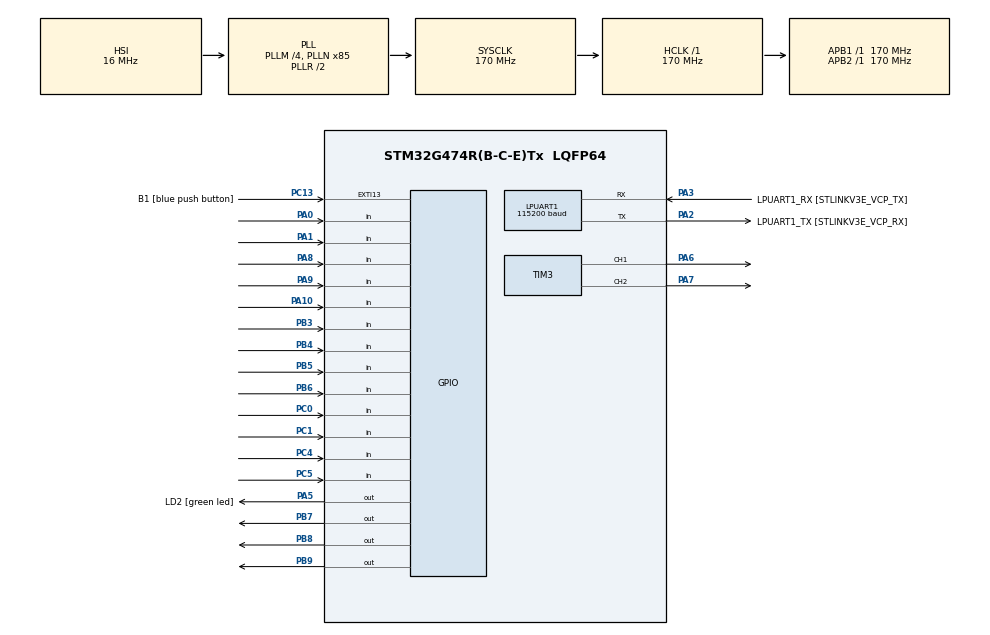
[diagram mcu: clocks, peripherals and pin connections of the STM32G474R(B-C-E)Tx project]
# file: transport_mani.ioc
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ARM.CMSIS.6.0.0.CMSISJjCORE=true
Dma.LPUART1_RX.0.Direction=DMA_PERIPH_TO_MEMORY
Dma.LPUART1_RX.0.EventEnable=DISABLE
Dma.LPUART1_RX.0.Instance=DMA1_Channel1
Dma.LPUART1_RX.0.MemDataAlignment=DMA_MDATAALIGN_BYTE
Dma.LPUART1_RX.0.MemInc=DMA_MINC_ENABLE
Dma.LPUART1_RX.0.Mode=DMA_CIRCULAR
Dma.LPUART1_RX.0.PeriphDataAlignment=DMA_PDATAALIGN_BYTE
Dma.LPUART1_RX.0.PeriphInc=DMA_PINC_DISABLE
Dma.LPUART1_RX.0.Polarity=HAL_DMAMUX_REQ_GEN_RISING
Dma.LPUART1_RX.0.Priority=DMA_PRIORITY_VERY_HIGH
Dma.LPUART1_RX.0.RequestNumber=1
Dma.LPUART1_RX.0.SignalID=NONE
Dma.LPUART1_RX.0.SyncEnable=DISABLE
Dma.LPUART1_RX.0.SyncPolarity=HAL_DMAMUX_SYNC_NO_EVENT
Dma.LPUART1_RX.0.SyncRequestNumber=1
Dma.LPUART1_RX.0.SyncSignalID=NONE
Dma.LPUART1_TX.1.Direction=DMA_MEMORY_TO_PERIPH
Dma.LPUART1_TX.1.EventEnable=DISABLE
Dma.LPUART1_TX.1.Instance=DMA1_Channel2
Dma.LPUART1_TX.1.MemDataAlignment=DMA_MDATAALIGN_BYTE
Dma.LPUART1_TX.1.MemInc=DMA_MINC_ENABLE
Dma.LPUART1_TX.1.Mode=DMA_NORMAL
Dma.LPUART1_TX.1.PeriphDataAlignment=DMA_PDATAALIGN_BYTE
Dma.LPUART1_TX.1.PeriphInc=DMA_PINC_DISABLE
Dma.LPUART1_TX.1.Polarity=HAL_DMAMUX_REQ_GEN_RISING
Dma.LPUART1_TX.1.Priority=DMA_PRIORITY_VERY_HIGH
Dma.LPUART1_TX.1.RequestNumber=1
Dma.LPUART1_TX.1.SignalID=NONE
Dma.LPUART1_TX.1.SyncEnable=DISABLE
Dma.LPUART1_TX.1.SyncPolarity=HAL_DMAMUX_SYNC_NO_EVENT
Dma.LPUART1_TX.1.SyncRequestNumber=1
Dma.LPUART1_TX.1.SyncSignalID=NONE
Dma.Request0=LPUART1_RX
Dma.Request1=LPUART1_TX
FREERTOS.Tasks01=defaultTask,24,3000,StartDefaultTask,As weak,NULL,Static,defaultTaskBuffer,defaultTaskControlBlock
FREERTOS.configENABLE_FPU=1
LPUART1.BaudRate=115200
Mcu.Family=STM32G4
Mcu.Name=STM32G474R(B-C-E)Tx
Mcu.Package=LQFP64
NVIC.DMA1_Channel1_IRQn=true\:5\:0\:false\:false\:true\:true\:false\:true\:true
NVIC.DMA1_Channel2_IRQn=true\:5\:0\:false\:false\:true\:true\:false\:true\:true
NVIC.EXTI15_10_IRQn=true\:5\:0\:false\:false\:true\:true\:true\:true\:true
NVIC.LPUART1_IRQn=true\:5\:0\:false\:false\:true\:true\:true\:true\:true
NVIC.PriorityGroup=NVIC_PRIORITYGROUP_4
NVIC.TIM2_IRQn=true\:5\:0\:false\:false\:true\:true\:true\:true\:true
NVIC.TIM6_DAC_IRQn=true\:15\:0\:false\:false\:true\:false\:false\:true\:true
NVIC.TimeBase=TIM6_DAC_IRQn
NVIC.TimeBaseIP=TIM6
PA0.GPIO_PuPd=GPIO_PULLUP
PA0.Signal=GPIO_Input
PA1.GPIO_PuPd=GPIO_PULLUP
PA1.Signal=GPIO_Input
PA10.GPIO_PuPd=GPIO_PULLUP
PA10.Signal=GPIO_Input
PA13.GPIO_Label=T_SWDIO
PA13.Signal=SYS_JTMS-SWDIO
PA14.GPIO_Label=T_SWCLK
PA14.Signal=SYS_JTCK-SWCLK
PA2.GPIO_Label=LPUART1_TX [STLINKV3E_VCP_RX]
PA2.Mode=Asynchronous
PA2.Signal=LPUART1_TX
PA3.GPIO_Label=LPUART1_RX [STLINKV3E_VCP_TX]
PA3.Mode=Asynchronous
PA3.Signal=LPUART1_RX
PA5.GPIO_Label=LD2 [green led]
PA5.Signal=GPIO_Output
PA6.Signal=S_TIM3_CH1
PA7.Signal=S_TIM3_CH2
PA8.GPIO_PuPd=GPIO_PULLDOWN
PA8.Signal=GPIO_Input
PA9.GPIO_PuPd=GPIO_PULLDOWN
PA9.Signal=GPIO_Input
PB3.GPIO_PuPd=GPIO_PULLUP
PB3.Signal=GPIO_Input
PB4.GPIO_PuPd=GPIO_PULLDOWN
PB4.Signal=GPIO_Input
PB5.GPIO_PuPd=GPIO_PULLDOWN
PB5.Signal=GPIO_Input
PB6.GPIO_PuPd=GPIO_PULLUP
PB6.Signal=GPIO_Input
PB7.Signal=GPIO_Output
PB8-BOOT0.Signal=GPIO_Output
PB9.Signal=GPIO_Output
PC0.GPIO_PuPd=GPIO_PULLUP
PC0.Signal=GPIO_Input
PC1.GPIO_PuPd=GPIO_PULLUP
PC1.Signal=GPIO_Input
PC13.GPIO_Label=B1 [blue push button]
PC13.Signal=GPXTI13
PC14-OSC32_IN.GPIO_Label=RCC_OSC32_IN
PC14-OSC32_IN.Signal=RCC_OSC32_IN
PC15-OSC32_OUT.GPIO_Label=RCC_OSC32_OUT
PC15-OSC32_OUT.Signal=RCC_OSC32_OUT
PC4.GPIO_PuPd=GPIO_PULLUP
PC4.Signal=GPIO_Input
PC5.GPIO_PuPd=GPIO_PULLDOWN
PC5.Signal=GPIO_Input
PF0-OSC_IN.GPIO_Label=RCC_OSC_IN
PF0-OSC_IN.Signal=RCC_OSC_IN
PF1-OSC_OUT.GPIO_Label=RCC_OSC_OUT
PF1-OSC_OUT.Signal=RCC_OSC_OUT
ProjectManager.HeapSize=0x200
ProjectManager.StackSize=0x400
ProjectManager.TargetToolchain=STM32CubeIDE
RCC.ADC12Freq_Value=170000000
RCC.ADC345Freq_Value=170000000
RCC.AHBFreq_Value=170000000
RCC.APB1Freq_Value=170000000
RCC.APB1TimFreq_Value=170000000
RCC.APB2Freq_Value=170000000
RCC.APB2TimFreq_Value=170000000
RCC.CortexFreq_Value=170000000
RCC.EXTERNAL_CLOCK_VALUE=12288000
RCC.HCLKFreq_Value=170000000
RCC.HSE_VALUE=24000000
RCC.HSI48_VALUE=48000000
RCC.HSI_VALUE=16000000
RCC.LSE_VALUE=32768
RCC.PLLM=RCC_PLLM_DIV4
RCC.PLLN=85
RCC.RTCClockSelection=RCC_RTCCLKSOURCE_LSE
RCC.SYSCLKFreq_VALUE=170000000
RCC.SYSCLKSource=RCC_SYSCLKSOURCE_PLLCLK
RCC.USBFreq_Value=170000000
RCC.VCOOutputFreq_Value=340000000
SH.S_TIM3_CH1.0=TIM3_CH1,PWM Generation1 CH1
SH.S_TIM3_CH2.0=TIM3_CH2,PWM Generation2 CH2
TIM2.PeriodNoDither=999
TIM2.Prescaler=169
TIM2.TIM_MasterOutputTrigger=TIM_TRGO_UPDATE
TIM3.Channel-PWM\ Generation1\ CH1=TIM_CHANNEL_1
TIM3.Channel-PWM\ Generation2\ CH2=TIM_CHANNEL_2
VP_ARM.CMSIS_VS_CMSISJjCORE_6.0.0_6.0.0.Mode=CMSISJjCORE
VP_FREERTOS_VS_CMSIS_V2.Mode=CMSIS_V2
VP_IWDG_VS_IWDG.Mode=IWDG_Activate
VP_SYS_VS_DBSignals.Mode=DisableDeadBatterySignals
VP_SYS_VS_tim6.Mode=TIM6
VP_TIM2_VS_ClockSourceINT.Mode=Internal
VP_TIM3_VS_ClockSourceINT.Mode=Internal
board=NUCLEO-G474RE

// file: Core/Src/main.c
/* USER CODE BEGIN Header */
/**
 ******************************************************************************
 * @file           : main.c
 * @brief          : Main program body
 ******************************************************************************
 * @attention
 *
 * Copyright (c) 2025 STMicroelectronics.
 * All rights reserved.
 *
 * This software is licensed under terms that can be found in the LICENSE file
 * in the root directory of this software component.
 * If no LICENSE file comes with this software, it is provided AS-IS.
 *
 ******************************************************************************
 */
/* USER CODE END Header */
#include "main.h"
#include "cmsis_os.h"
#include "dma.h"
#include "iwdg.h"
#include "usart.h"
#include "tim.h"
#include "gpio.h"

/* USER CODE BEGIN Includes */
#include <rcl/rcl.h>
#include <rcl/error_handling.h>
#include <rclc/rclc.h>
#include <rclc/executor.h>
#include <uxr/client/transport.h>
#include <rmw_microxrcedds_c/config.h>
#include <rmw_microros/rmw_microros.h>

#include <std_msgs/msg/int32.h>
#include <std_msgs/msg/int16.h>

#include <std_msgs/msg/multi_array_dimension.h>
#include <std_msgs/msg/multi_array_layout.h>
#include <std_msgs/msg/float64_multi_array.h>
#include <std_msgs/msg/float32_multi_array.h>
#include <geometry_msgs/msg/twist.h>

#include <example_interfaces/srv/add_two_ints.h>

#include "config.h"
/* USER CODE END Includes */

/* USER CODE BEGIN PM */
#define RCLSOFTCHECK(fn) if (fn != RCL_RET_OK) {};
/* USER CODE END PM */

/* USER CODE BEGIN PV */
rclc_support_t support;
rcl_allocator_t allocator;
rcl_node_t node;
rcl_init_options_t init_options;
rclc_executor_t executor;

rcl_timer_t timer;
const int timeout_ms = 10;
const unsigned int timer_period = RCL_MS_TO_NS(10);

rcl_publisher_t publisher;
std_msgs__msg__Float64MultiArray pub_msg;

rcl_subscription_t subscriber;
std_msgs__msg__Float64MultiArray sub_msg;

int cmd_FL_hinge, cmd_BL_hinge;

uint8_t FL_limit1, FL_limit2, BL_limit1, BL_limit2;

uint8_t FL_limit_ang1;
uint8_t BL_limit_ang2;

uint8_t hinge_num;
uint8_t hinge_action;
uint8_t L_hinge_state;
uint8_t R_hinge_state;
uint32_t L_hinge_timer;

uint8_t FL_flex_limit;
uint8_t BL_flex_limit;
uint8_t FR_flex_limit;
uint8_t BR_flex_limit;
uint8_t FL_flex_limit_prev;
uint8_t BL_flex_limit_prev;
uint8_t FR_flex_limit_prev;
uint8_t BR_flex_limit_prev;

int32_t cmd_vel1, cmd_vel2;
uint16_t FlexData[2] = { 0 };
float flexdata_converted[2];
float flex_threshold = 0.9;
int flex_output[2];

rcl_service_t service;
rcl_client_t client;
example_interfaces__srv__AddTwoInts_Response service_response;
example_interfaces__srv__AddTwoInts_Request service_request;
int64_t client_response;
example_interfaces__srv__AddTwoInts_Request client_request;

int checkk = 0;
int first_time_in;

// Flags for interrupt-safe micro-ROS operations
volatile uint8_t send_client_request_flag = 0;
volatile uint8_t client_request_type = 0;
volatile uint8_t condition_triggered = 0;

// Flag values for different client request types
#define CLIENT_REQ_L_DOWN_SUCCESS     1
#define CLIENT_REQ_L_DOWN_FAIL        2
#define CLIENT_REQ_L_READY_FOR_ORDER  3
#define CLIENT_REQ_R_DOWN_SUCCESS     4
#define CLIENT_REQ_R_DOWN_FAIL        5
#define CLIENT_REQ_R_READY_FOR_ORDER  6
#define CLIENT_REQ_FL_FLEX_PRESSED  7
#define CLIENT_REQ_FL_FLEX_RELEASED 8
#define CLIENT_REQ_BL_FLEX_PRESSED  9
#define CLIENT_REQ_BL_FLEX_RELEASED 10
#define CLIENT_REQ_FR_FLEX_PRESSED  11
#define CLIENT_REQ_FR_FLEX_RELEASED 12
#define CLIENT_REQ_BR_FLEX_PRESSED  13
#define CLIENT_REQ_BR_FLEX_RELEASED 14

/* USER CODE END PV */

void SystemClock_Config(void);
void MX_FREERTOS_Init(void);
/* USER CODE BEGIN PFP */
bool cubemx_transport_open(struct uxrCustomTransport *transport);
bool cubemx_transport_close(struct uxrCustomTransport *transport);
size_t cubemx_transport_write(struct uxrCustomTransport *transport,
		const uint8_t *buf, size_t len, uint8_t *err);
size_t cubemx_transport_read(struct uxrCustomTransport *transport, uint8_t *buf,
		size_t len, int timeout, uint8_t *err);

void* microros_allocate(size_t size, void *state);
void microros_deallocate(void *pointer, void *state);
void* microros_reallocate(void *pointer, size_t size, void *state);
void* microros_zero_allocate(size_t number_of_elements, size_t size_of_element,
		void *state);

void handle_client_requests(void);
void send_client_request_safe(uint8_t req_type);
/* USER CODE END PFP */

/* USER CODE BEGIN 0 */
//void timer_callback(rcl_timer_t *timer, int64_t last_call_time) {
//	if (timer != NULL) {
//		// Sync micro-ROS session
//		rmw_uros_sync_session(timeout_ms);
//
//		// Prepare and publish multi-array message with motor data
//
//		// Reinitialize watchdog timer
//		HAL_IWDG_Init(&hiwdg);
//	}
//}

void timer_callback(rcl_timer_t *timer, int64_t last_call_time) {
	static uint8_t cnt = 0;

	if (timer != NULL) {
		// Sync micro-ROS session
		rmw_uros_sync_session(timeout_ms);

		// Toggle LED every 50 cycles (approximately every 0.5 seconds)
		if (cnt == 0)
			HAL_GPIO_TogglePin(LD2_GPIO_Port, LD2_Pin);
		cnt = (cnt + 1) % 50;

		// Reinitialize watchdog timer
		HAL_IWDG_Init(&hiwdg);
	}
}

void subscription_callback(const void *msgin) {
	const std_msgs__msg__Float64MultiArray *msg =
			(const std_msgs__msg__Float64MultiArray*) msgin;

	// Extract commands: 1 = down, 0 = stop, -1 = up
	if (msg->data.size >= 2) {
		cmd_FL_hinge = (int) msg->data.data[0];
		cmd_BL_hinge = (int) msg->data.data[1];
	}
}

void service_callback(const void *client_request, void *response_msg) {
	example_interfaces__srv__AddTwoInts_Request *req_in =
			(example_interfaces__srv__AddTwoInts_Request*) client_request;
	example_interfaces__srv__AddTwoInts_Response *res_in =
			(example_interfaces__srv__AddTwoInts_Response*) response_msg;

	// Handle request message and set the response message values
	HAL_GPIO_TogglePin(GPIOA, GPIO_PIN_5);
	hinge_num = req_in->a;
	hinge_action = req_in->b;
	if (hinge_num == 1) {  //left
		if (hinge_action == 0) {
			L_hinge_state = 0; // stop
		}
		if (hinge_action == 1) {
			L_hinge_state = 1; // down
		}
		if (hinge_action == 2) {
			L_hinge_state = 2; // up
		}
	}
	if (hinge_num == 2) { // right
		if (hinge_action == 0) {
			R_hinge_state = 0; // stop
		}
		if (hinge_action == 1) {
			R_hinge_state = 1; // down
		}
		if (hinge_action == 2) {
			R_hinge_state = 2; // up
		}
	}
	res_in->sum = 1;
}

void client_callback(const void *response_msg) {

	example_interfaces__srv__AddTwoInts_Response *msgin =
			(example_interfaces__srv__AddTwoInts_Response*) response_msg;
	client_response = msgin->sum;
}

void send_client_request_safe(uint8_t req_type) {
	send_client_request_flag = 1;
	client_request_type = req_type;
}

void handle_client_requests(void) {
	if (send_client_request_flag) {
		send_client_request_flag = 0; // Clear flag

		example_interfaces__srv__AddTwoInts_Request__init(&client_request);
		int64_t sequence_number;

		switch (client_request_type) {
		case CLIENT_REQ_L_DOWN_SUCCESS:
			client_request.a = 4;
			client_request.b = 0;
			break;
		case CLIENT_REQ_L_DOWN_FAIL:
			client_request.a = 5;
			client_request.b = 0;
			break;
		case CLIENT_REQ_L_READY_FOR_ORDER:
			client_request.a = 3;
			client_request.b = 0;
			break;
		case CLIENT_REQ_R_DOWN_SUCCESS:
			client_request.a = 7;
			client_request.b = 0;
			break;
		case CLIENT_REQ_R_DOWN_FAIL:
			client_request.a = 8;
			client_request.b = 0;
			break;
		case CLIENT_REQ_R_READY_FOR_ORDER:
			client_request.a = 6;
			client_request.b = 0;
			break;
		case CLIENT_REQ_FL_FLEX_PRESSED:
			client_request.a = 0;
			client_request.b = 2;
			break;
		case CLIENT_REQ_FL_FLEX_RELEASED:
			client_request.a = 0;
			client_request.b = 3;
			break;
		case CLIENT_REQ_BL_FLEX_PRESSED:
			client_request.a = 0;
			client_request.b = 4;
			break;
		case CLIENT_REQ_BL_FLEX_RELEASED:
			client_request.a = 0;
			client_request.b = 5;
			break;
		case CLIENT_REQ_FR_FLEX_PRESSED:
			client_request.a = 0;
			client_request.b = 6;
			break;
		case CLIENT_REQ_FR_FLEX_RELEASED:
			client_request.a = 0;
			client_request.b = 7;
			break;
		case CLIENT_REQ_BR_FLEX_PRESSED:
			client_request.a = 0;
			client_request.b = 8;
			break;
		case CLIENT_REQ_BR_FLEX_RELEASED:
			client_request.a = 0;
			client_request.b = 9;
			break;
		default:
			return; // Invalid request type
		}

		RCLSOFTCHECK(
				rcl_send_request(&client, &client_request, &sequence_number));
	}
}

void StartDefaultTask(void *argument) {

	// micro-ROS configuration
	rmw_uros_set_custom_transport(
	true, (void*) &hlpuart1, cubemx_transport_open, cubemx_transport_close,
			cubemx_transport_write, cubemx_transport_read);

	rcl_allocator_t freeRTOS_allocator =
			rcutils_get_zero_initialized_allocator();
	freeRTOS_allocator.allocate = microros_allocate;
	freeRTOS_allocator.deallocate = microros_deallocate;
	freeRTOS_allocator.reallocate = microros_reallocate;
	freeRTOS_allocator.zero_allocate = microros_zero_allocate;

	if (!rcutils_set_default_allocator(&freeRTOS_allocator)) {
		printf("Error on default allocators (line %d)\n", __LINE__);
	}

	allocator = rcl_get_default_allocator();

	//create init_options
	init_options = rcl_get_zero_initialized_init_options();
	RCLSOFTCHECK(rcl_init_options_init(&init_options, allocator));
	RCLSOFTCHECK(rcl_init_options_set_domain_id(&init_options, 124));

	rclc_support_init_with_options(&support, 0, NULL, &init_options,
			&allocator);

	// create node
	rclc_node_init_default(&node, "mani_node", "", &support);

	pub_msg.layout.dim.capacity = 1;
	pub_msg.layout.dim.size = 1;
	pub_msg.layout.dim.data = malloc(
			sizeof(std_msgs__msg__MultiArrayDimension) * 1);

	pub_msg.layout.dim.data[0].label.data = malloc(10);
	pub_msg.layout.dim.data[0].label.capacity = 10;
	pub_msg.layout.dim.data[0].label.size = strlen("mani_data");
	strcpy(pub_msg.layout.dim.data[0].label.data, "mani_data");

	pub_msg.layout.data_offset = 0;

	pub_msg.data.capacity = 4;
	pub_msg.data.size = 4;
	pub_msg.data.data = malloc(4 * sizeof(double));

	// Allocate layout for sub_msg
	sub_msg.layout.dim.capacity = 1;
	sub_msg.layout.dim.size = 1;
	sub_msg.layout.dim.data = malloc(
			sizeof(std_msgs__msg__MultiArrayDimension));

	sub_msg.layout.dim.data[0].label.data = malloc(10);
	sub_msg.layout.dim.data[0].label.capacity = 10;
	sub_msg.layout.dim.data[0].label.size = strlen("cmd_data");
	strcpy(sub_msg.layout.dim.data[0].label.data, "cmd_data");

	sub_msg.layout.data_offset = 0;

	// Allocate data array for sub_msg
	sub_msg.data.capacity = 2;
	sub_msg.data.size = 2;
	sub_msg.data.data = malloc(sizeof(double) * 2);
	sub_msg.data.data[0] = 0.0;
	sub_msg.data.data[1] = 0.0;

	// create publisher
	rclc_publisher_init_default(&publisher, &node,
			ROSIDL_GET_MSG_TYPE_SUPPORT(std_msgs, msg, Float64MultiArray),
			"hinge_state");

	// Create subscriber
	rclc_subscription_init_default(&subscriber, &node,
			ROSIDL_GET_MSG_TYPE_SUPPORT(std_msgs, msg, Float64MultiArray),
			"cmd_hinge");

	//create service
	rclc_service_init_default(&service, &node,
			ROSIDL_GET_SRV_TYPE_SUPPORT(example_interfaces, srv, AddTwoInts),
			"Set_Mani");
	//create client
	rclc_client_init_default(&client, &node,
			ROSIDL_GET_SRV_TYPE_SUPPORT(example_interfaces, srv, AddTwoInts),
			"/mani_state");
	// create timer
	rclc_timer_init_default(&timer, &support, timer_period, timer_callback);

	// create executor
	executor = rclc_executor_get_zero_initialized_executor();
	rclc_executor_init(&executor, &support.context, 4, &allocator); // total number of handles = #subscriptions + #timers
	rclc_executor_add_timer(&executor, &timer);
	rclc_executor_add_subscription(&executor, &subscriber, &sub_msg,
			&subscription_callback, ON_NEW_DATA);
	rclc_executor_add_service(&executor, &service, &service_request,
			&service_response, service_callback);
	rclc_executor_add_client(&executor, &client, client_response,
			client_callback);

	// Main task loop with non-blocking executor
	while (1) {
		// Process ROS messages for up to 10ms
		rclc_executor_spin_some(&executor, RCL_MS_TO_NS(10));

		// Handle client requests from interrupt flags
		handle_client_requests();

		// Small delay to prevent CPU overload and let other tasks run
		osDelay(1);
	}
}
/* USER CODE END 0 */

int main(void)
{

  /* MCU Configuration--------------------------------------------------------*/

  /* Reset of all peripherals, Initializes the Flash interface and the Systick. */
  HAL_Init();

  /* Configure the system clock */
  SystemClock_Config();

  /* Initialize all configured peripherals */
  MX_GPIO_Init();
  MX_DMA_Init();
  MX_LPUART1_UART_Init();
  MX_TIM3_Init();
  MX_TIM2_Init();
  MX_IWDG_Init();
  /* USER CODE BEGIN 2 */
	tarnsport_mani_begin();
//	HAL_ADCEx_Calibration_Start(&hadc1, ADC_SINGLE_ENDED);
//	HAL_ADC_Start_DMA(&hadc1, FlexData, 2);
//  HAL_ADC_Start(&hadc1);
//  HAL_ADC_PollForConversion(&hadc1, 10);
  /* USER CODE END 2 */

  /* Init scheduler */
  osKernelInitialize();  /* Call init function for freertos objects (in cmsis_os2.c) */
  MX_FREERTOS_Init();

  /* Start scheduler */
  osKernelStart();

  /* We should never get here as control is now taken by the scheduler */

  /* Infinite loop */
	while (1) {

	}
}

void SystemClock_Config(void)
{
  RCC_OscInitTypeDef RCC_OscInitStruct = {0};
  RCC_ClkInitTypeDef RCC_ClkInitStruct = {0};

  /** Configure the main internal regulator output voltage
  */
  HAL_PWREx_ControlVoltageScaling(PWR_REGULATOR_VOLTAGE_SCALE1_BOOST);

  /** Initializes the RCC Oscillators according to the specified parameters
  * in the RCC_OscInitTypeDef structure.
  */
  RCC_OscInitStruct.OscillatorType = RCC_OSCILLATORTYPE_HSI|RCC_OSCILLATORTYPE_LSI;
  RCC_OscInitStruct.HSIState = RCC_HSI_ON;
  RCC_OscInitStruct.HSICalibrationValue = RCC_HSICALIBRATION_DEFAULT;
  RCC_OscInitStruct.LSIState = RCC_LSI_ON;
  RCC_OscInitStruct.PLL.PLLState = RCC_PLL_ON;
  RCC_OscInitStruct.PLL.PLLSource = RCC_PLLSOURCE_HSI;
  RCC_OscInitStruct.PLL.PLLM = RCC_PLLM_DIV4;
  RCC_OscInitStruct.PLL.PLLN = 85;
  RCC_OscInitStruct.PLL.PLLP = RCC_PLLP_DIV2;
  RCC_OscInitStruct.PLL.PLLQ = RCC_PLLQ_DIV2;
  RCC_OscInitStruct.PLL.PLLR = RCC_PLLR_DIV2;
  if (HAL_RCC_OscConfig(&RCC_OscInitStruct) != HAL_OK)
  {
    Error_Handler();
  }

  /** Initializes the CPU, AHB and APB buses clocks
  */
  RCC_ClkInitStruct.ClockType = RCC_CLOCKTYPE_HCLK|RCC_CLOCKTYPE_SYSCLK
                              |RCC_CLOCKTYPE_PCLK1|RCC_CLOCKTYPE_PCLK2;
  RCC_ClkInitStruct.SYSCLKSource = RCC_SYSCLKSOURCE_PLLCLK;
  RCC_ClkInitStruct.AHBCLKDivider = RCC_SYSCLK_DIV1;
  RCC_ClkInitStruct.APB1CLKDivider = RCC_HCLK_DIV1;
  RCC_ClkInitStruct.APB2CLKDivider = RCC_HCLK_DIV1;

  if (HAL_RCC_ClockConfig(&RCC_ClkInitStruct, FLASH_LATENCY_4) != HAL_OK)
  {
    Error_Handler();
  }
}

void HAL_TIM_PeriodElapsedCallback(TIM_HandleTypeDef *htim)
{
  if (htim->Instance == TIM6)
  {
    HAL_IncTick();
  }
  /* USER CODE BEGIN Callback 1 */
	if (htim == &htim2) {

		// Read GPIO inputs first (fast operations)
		FL_limit_ang1 = !HAL_GPIO_ReadPin(GPIOB, GPIO_PIN_6);
		BL_limit_ang2 = !HAL_GPIO_ReadPin(GPIOB, GPIO_PIN_3);

		// limit 1 = trick
		FL_limit1 = !HAL_GPIO_ReadPin(GPIOC, GPIO_PIN_0); // wait for real pin
		FL_limit2 = !HAL_GPIO_ReadPin(GPIOC, GPIO_PIN_4);
		BL_limit1 = !HAL_GPIO_ReadPin(GPIOA, GPIO_PIN_10);
		BL_limit2 = !HAL_GPIO_ReadPin(GPIOC, GPIO_PIN_1); // wait for real pin

		// Motor control logic
		if (L_hinge_state == 1) {
			if ((FL_limit1 || FL_limit2) ) {
				MDXX_set_range(&FL_motor, 2000, 0);     // stop
			} else {
				MDXX_set_range(&FL_motor, 2000, 65535); // going down
			}
			if ((BL_limit1 || BL_limit2) ) {
				MDXX_set_range(&BL_motor, 2000, 0);    // stop
			} else {
				MDXX_set_range(&BL_motor, 2000, 65535);  // going down
			}

			if ((((FL_limit1 || FL_limit2) && FL_limit_ang1) && ((BL_limit1 || BL_limit2) && BL_limit_ang2))) {

				if (!condition_triggered) { // Only trigger once
					condition_triggered = 1;
					send_client_request_safe(CLIENT_REQ_L_DOWN_SUCCESS);
					L_hinge_state = 0;
				}
			}

			if (((FL_limit1 || FL_limit2) && !FL_limit_ang1) || (((BL_limit1 || BL_limit2)) && !BL_limit_ang2)) {

				send_client_request_safe(CLIENT_REQ_L_DOWN_FAIL);
				L_hinge_state = 2;
				L_hinge_timer = 0;
			}
		}

		if (L_hinge_state == 2) {
			if (first_time_in == 0) {
				L_hinge_timer = 0;
				first_time_in = 1;
			}
			L_hinge_timer++;
			MDXX_set_range(&FL_motor, 2000, -65535);
			MDXX_set_range(&BL_motor, 2000, -65535);  //  up
			if (L_hinge_timer >= 10000) {
				MDXX_set_range(&FL_motor, 2000, 0);
				MDXX_set_range(&BL_motor, 2000, 0);
				L_hinge_state = 0;
				first_time_in = 0;

				send_client_request_safe(CLIENT_REQ_L_READY_FOR_ORDER);
			}
		}

		if (L_hinge_state == 0) {
			MDXX_set_range(&FL_motor, 2000, 0);           // stop
			MDXX_set_range(&BL_motor, 2000, 0);
			L_hinge_timer = 0;
			condition_triggered = 0; // Reset condition trigger when state is 0
		}

		/////////// flex sensor ////////////////////////

		FL_flex_limit = HAL_GPIO_ReadPin(GPIOB, GPIO_PIN_5); // not set pin yet
		BL_flex_limit = HAL_GPIO_ReadPin(GPIOB, GPIO_PIN_4); // not set pin yet
		FR_flex_limit = HAL_GPIO_ReadPin(GPIOB, GPIO_PIN_5); // not set pin yet
		BR_flex_limit = HAL_GPIO_ReadPin(GPIOB, GPIO_PIN_4); // not set pin yet

		// Handle flex sensor changes with flags
		if (FL_flex_limit != FL_flex_limit_prev) {
			if (FL_flex_limit == 0) {
				send_client_request_safe(CLIENT_REQ_FL_FLEX_PRESSED);
			}
			if (FL_flex_limit == 1) {
				send_client_request_safe(CLIENT_REQ_FL_FLEX_RELEASED);
			}
		}

		if (BL_flex_limit != BL_flex_limit_prev) {
			if (BL_flex_limit == 0) {
				send_client_request_safe(CLIENT_REQ_BL_FLEX_PRESSED);
			}
			if (BL_flex_limit == 1) {
				send_client_request_safe(CLIENT_REQ_BL_FLEX_RELEASED);
			}
		}

		if (FR_flex_limit != FR_flex_limit_prev) {
			if (FR_flex_limit == 0) {
				send_client_request_safe(CLIENT_REQ_FR_FLEX_PRESSED);
			}
			if (FR_flex_limit == 1) {
				send_client_request_safe(CLIENT_REQ_FR_FLEX_RELEASED);
			}
		}

		if (BR_flex_limit != BR_flex_limit_prev) {
			if (BR_flex_limit == 0) {
				send_client_request_safe(CLIENT_REQ_BR_FLEX_PRESSED);
			}
			if (BR_flex_limit == 1) {
				send_client_request_safe(CLIENT_REQ_BR_FLEX_RELEASED);
			}
		}

		// Update previous values
		FL_flex_limit_prev = FL_flex_limit;
		BL_flex_limit_prev = BL_flex_limit;
		FR_flex_limit_prev = FR_flex_limit;
		BR_flex_limit_prev = BR_flex_limit;
	}

  /* USER CODE END Callback 1 */
}

void Error_Handler(void)
{
	__disable_irq();
	while (1) {
	}
}
